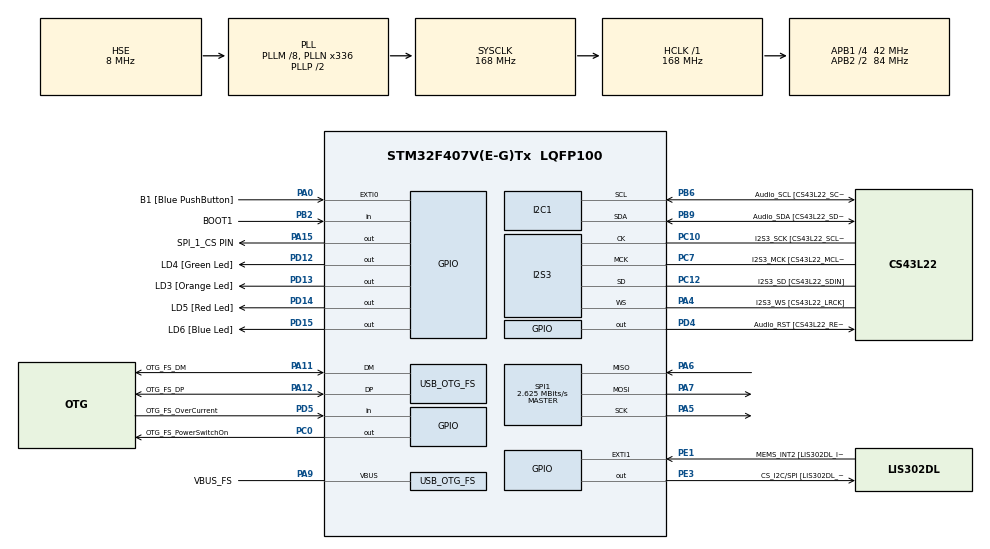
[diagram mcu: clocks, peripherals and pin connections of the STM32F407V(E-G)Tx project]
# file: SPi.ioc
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I2S3.AudioFreq-Half_Duplex_Master=I2S_AUDIOFREQ_96K
I2S3.ErrorAudioFreq=-2.34 %
I2S3.ErrorAudioFreq-Half_Duplex_Master=0.8 %
I2S3.FullDuplexMode=I2S_FULLDUPLEXMODE_DISABLE
I2S3.Instance=SPI$Index
I2S3.RealAudioFreq=93.75 KHz
I2S3.RealAudioFreq-Half_Duplex_Master=96.774 KHz
I2S3.VirtualMode=I2S_MODE_MASTER
Mcu.Family=STM32F4
Mcu.Name=STM32F407V(E-G)Tx
Mcu.Package=LQFP100
NVIC.OTG_FS_IRQn=true\:0\:0\:false\:false\:true\:true\:true\:true
NVIC.PriorityGroup=NVIC_PRIORITYGROUP_0
PA0-WKUP.GPIO_Label=B1 [Blue PushButton]
PA0-WKUP.GPIO_ModeDefaultEXTI=GPIO_MODE_EVT_RISING
PA0-WKUP.GPIO_PuPd=GPIO_NOPULL
PA0-WKUP.Signal=GPXTI0
PA10.GPIO_Label=OTG_FS_ID
PA10.GPIO_Mode=GPIO_MODE_AF_PP
PA10.GPIO_PuPd=GPIO_NOPULL
PA10.GPIO_Speed=GPIO_SPEED_FREQ_LOW
PA10.Signal=USB_OTG_FS_ID
PA11.GPIO_Label=OTG_FS_DM
PA11.GPIO_Mode=GPIO_MODE_AF_PP
PA11.GPIO_PuPd=GPIO_NOPULL
PA11.GPIO_Speed=GPIO_SPEED_FREQ_LOW
PA11.Mode=Host_Only
PA11.Signal=USB_OTG_FS_DM
PA12.GPIO_Label=OTG_FS_DP
PA12.GPIO_Mode=GPIO_MODE_AF_PP
PA12.GPIO_PuPd=GPIO_NOPULL
PA12.GPIO_Speed=GPIO_SPEED_FREQ_LOW
PA12.Mode=Host_Only
PA12.Signal=USB_OTG_FS_DP
PA13.GPIO_Label=SWDIO
PA13.Mode=Serial_Wire
PA13.Signal=SYS_JTMS-SWDIO
PA14.GPIO_Label=SWCLK
PA14.Mode=Serial_Wire
PA14.Signal=SYS_JTCK-SWCLK
PA15.GPIO_Label=SPI_1_CS PIN
PA15.GPIO_Speed=GPIO_SPEED_FREQ_HIGH
PA15.PinState=GPIO_PIN_RESET
PA15.Signal=GPIO_Output
PA4.GPIO_Label=I2S3_WS [CS43L22_LRCK]
PA4.GPIO_Mode=GPIO_MODE_AF_PP
PA4.GPIO_PuPd=GPIO_NOPULL
PA4.GPIO_Speed=GPIO_SPEED_FREQ_LOW
PA4.Mode=Half_Duplex_Master
PA4.Signal=I2S3_WS
PA5.GPIO_Mode=GPIO_MODE_AF_PP
PA5.GPIO_PuPd=GPIO_NOPULL
PA5.GPIO_Speed=GPIO_SPEED_FREQ_HIGH
PA5.Mode=Full_Duplex_Master
PA5.Signal=SPI1_SCK
PA6.GPIO_Mode=GPIO_MODE_AF_PP
PA6.GPIO_PuPd=GPIO_NOPULL
PA6.GPIO_Speed=GPIO_SPEED_FREQ_HIGH
PA6.Mode=Full_Duplex_Master
PA6.Signal=SPI1_MISO
PA7.GPIO_Mode=GPIO_MODE_AF_PP
PA7.GPIO_PuPd=GPIO_NOPULL
PA7.GPIO_Speed=GPIO_SPEED_FREQ_HIGH
PA7.Mode=Full_Duplex_Master
PA7.Signal=SPI1_MOSI
PA9.GPIO_Label=VBUS_FS
PA9.GPIO_Mode=GPIO_MODE_INPUT
PA9.GPIO_PuPd=GPIO_NOPULL
PA9.Mode=Activate_VBUS
PA9.Signal=USB_OTG_FS_VBUS
PB10.GPIO_Label=CLK_IN [MP45DT02_CLK]
PB10.GPIO_Mode=GPIO_MODE_AF_PP
PB10.GPIO_PuPd=GPIO_NOPULL
PB10.GPIO_Speed=GPIO_SPEED_FREQ_LOW
PB10.Signal=I2S2_CK
PB2.GPIO_Label=BOOT1
PB2.GPIO_Mode=GPIO_MODE_INPUT
PB2.GPIO_PuPd=GPIO_NOPULL
PB2.Signal=GPIO_Input
PB3.GPIO_Label=SWO
PB3.Signal=SYS_JTDO-SWO
PB6.GPIO_Label=Audio_SCL [CS43L22_SCL]
PB6.GPIO_Mode=GPIO_MODE_AF_OD
PB6.GPIO_Pu=GPIO_PULLUP
PB6.GPIO_PuPd=GPIO_NOPULL
PB6.GPIO_Speed=GPIO_SPEED_FREQ_LOW
PB6.Mode=I2C
PB6.Signal=I2C1_SCL
PB9.GPIO_Label=Audio_SDA [CS43L22_SDA]
PB9.GPIO_Mode=GPIO_MODE_AF_OD
PB9.GPIO_Pu=GPIO_PULLUP
PB9.GPIO_PuPd=GPIO_NOPULL
PB9.GPIO_Speed=GPIO_SPEED_FREQ_LOW
PB9.Mode=I2C
PB9.Signal=I2C1_SDA
PC0.GPIO_Label=OTG_FS_PowerSwitchOn
PC0.GPIO_PuPd=GPIO_NOPULL
PC0.GPIO_Speed=GPIO_SPEED_FREQ_LOW
PC0.PinState=GPIO_PIN_SET
PC0.Signal=GPIO_Output
PC10.GPIO_Label=I2S3_SCK [CS43L22_SCLK]
PC10.GPIO_Mode=GPIO_MODE_AF_PP
PC10.GPIO_PuPd=GPIO_NOPULL
PC10.GPIO_Speed=GPIO_SPEED_FREQ_LOW
PC10.Mode=Half_Duplex_Master
PC10.Signal=I2S3_CK
PC12.GPIO_Label=I2S3_SD [CS43L22_SDIN]
PC12.GPIO_Mode=GPIO_MODE_AF_PP
PC12.GPIO_PuPd=GPIO_NOPULL
PC12.GPIO_Speed=GPIO_SPEED_FREQ_LOW
PC12.Mode=Half_Duplex_Master
PC12.Signal=I2S3_SD
PC14-OSC32_IN.GPIO_Label=PC14-OSC32_IN
PC14-OSC32_IN.Mode=LSE-External-Oscillator
PC14-OSC32_IN.Signal=RCC_OSC32_IN
PC15-OSC32_OUT.GPIO_Label=PC15-OSC32_OUT
PC15-OSC32_OUT.Mode=LSE-External-Oscillator
PC15-OSC32_OUT.Signal=RCC_OSC32_OUT
PC3.GPIO_Label=PDM_OUT [MP45DT02_DOUT]
PC3.GPIO_Mode=GPIO_MODE_AF_PP
PC3.GPIO_PuPd=GPIO_NOPULL
PC3.GPIO_Speed=GPIO_SPEED_FREQ_LOW
PC3.Signal=I2S2_SD
PC7.GPIO_Label=I2S3_MCK [CS43L22_MCLK]
PC7.GPIO_Mode=GPIO_MODE_AF_PP
PC7.GPIO_PuPd=GPIO_NOPULL
PC7.GPIO_Speed=GPIO_SPEED_FREQ_LOW
PC7.Mode=Master_Clock_Activated
PC7.Signal=I2S3_MCK
PD12.GPIO_Label=LD4 [Green Led]
PD12.GPIO_PuPd=GPIO_NOPULL
PD12.GPIO_Speed=GPIO_SPEED_FREQ_LOW
PD12.Signal=GPIO_Output
PD13.GPIO_Label=LD3 [Orange Led]
PD13.GPIO_PuPd=GPIO_NOPULL
PD13.GPIO_Speed=GPIO_SPEED_FREQ_LOW
PD13.Signal=GPIO_Output
PD14.GPIO_Label=LD5 [Red Led]
PD14.GPIO_PuPd=GPIO_NOPULL
PD14.GPIO_Speed=GPIO_SPEED_FREQ_LOW
PD14.Signal=GPIO_Output
PD15.GPIO_Label=LD6 [Blue Led]
PD15.GPIO_PuPd=GPIO_NOPULL
PD15.GPIO_Speed=GPIO_SPEED_FREQ_LOW
PD15.Signal=GPIO_Output
PD4.GPIO_Label=Audio_RST [CS43L22_RESET]
PD4.GPIO_PuPd=GPIO_NOPULL
PD4.GPIO_Speed=GPIO_SPEED_FREQ_LOW
PD4.Signal=GPIO_Output
PD5.GPIO_Label=OTG_FS_OverCurrent
PD5.GPIO_Mode=GPIO_MODE_INPUT
PD5.GPIO_PuPd=GPIO_NOPULL
PD5.Signal=GPIO_Input
PE1.GPIO_Label=MEMS_INT2 [LIS302DL_INT2]
PE1.GPIO_ModeDefaultEXTI=GPIO_MODE_EVT_RISING
PE1.GPIO_PuPd=GPIO_NOPULL
PE1.Signal=GPXTI1
PE3.GPIO_Label=CS_I2C/SPI [LIS302DL_CS_I2C/SPI]
PE3.GPIO_PuPd=GPIO_NOPULL
PE3.GPIO_Speed=GPIO_SPEED_FREQ_LOW
PE3.Signal=GPIO_Output
PH0-OSC_IN.GPIO_Label=PH0-OSC_IN
PH0-OSC_IN.Mode=HSE-External-Oscillator
PH0-OSC_IN.Signal=RCC_OSC_IN
PH1-OSC_OUT.GPIO_Label=PH1-OSC_OUT
PH1-OSC_OUT.Mode=HSE-External-Oscillator
PH1-OSC_OUT.Signal=RCC_OSC_OUT
ProjectManager.HeapSize=0x200
ProjectManager.StackSize=0x400
ProjectManager.TargetToolchain=STM32CubeIDE
RCC.48MHZClocksFreq_Value=48000000
RCC.AHBFreq_Value=168000000
RCC.APB1CLKDivider=RCC_HCLK_DIV4
RCC.APB1Freq_Value=42000000
RCC.APB1TimFreq_Value=84000000
RCC.APB2CLKDivider=RCC_HCLK_DIV2
RCC.APB2Freq_Value=84000000
RCC.APB2TimFreq_Value=168000000
RCC.CortexFreq_Value=168000000
RCC.HCLKFreq_Value=168000000
RCC.HSE_VALUE=8000000
RCC.HSI_VALUE=16000000
RCC.PLLM=8
RCC.PLLN=336
RCC.PLLQ=7
RCC.SYSCLKFreq_VALUE=168000000
RCC.SYSCLKSource=RCC_SYSCLKSOURCE_PLLCLK
RCC.VCOOutputFreq_Value=336000000
SPI1.BaudRatePrescaler=SPI_BAUDRATEPRESCALER_32
SPI1.CLKPhase=SPI_PHASE_2EDGE
SPI1.CLKPolarity=SPI_POLARITY_HIGH
SPI1.CalculateBaudRate=2.625 MBits/s
SPI1.DataSize=SPI_DATASIZE_8BIT
SPI1.Direction=SPI_DIRECTION_2LINES
SPI1.Mode=SPI_MODE_MASTER
SPI1.VirtualType=VM_MASTER
USB_HOST.BSP.number=1
USB_HOST.USBH_HandleTypeDef-CDC_FS=hUsbHostFS
USB_HOST.VirtualModeFS=Cdc
USB_HOST0.BSP.STBoard=false
USB_HOST0.BSP.api=Unknown
USB_HOST0.BSP.instance=PC0
USB_HOST0.BSP.ip=GPIO
USB_HOST0.BSP.mode=Output
USB_HOST0.BSP.name=Drive_VBUS_FS
USB_HOST0.BSP.solution=PC0
USB_OTG_FS.VirtualMode=Host_Only
USB_OTG_FS.phy_itface=HCD_PHY_EMBEDDED
VP_USB_HOST_VS_USB_HOST_CDC_FS.Mode=CDC_FS
board=STM32F407G-DISC1

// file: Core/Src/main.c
/* USER CODE BEGIN Header */
/**
  ******************************************************************************
  * @file           : main.c
  * @brief          : Main program body
  ******************************************************************************
  * @attention
  *
  * Copyright (c) 2025 STMicroelectronics.
  * All rights reserved.
  *
  * This software is licensed under terms that can be found in the LICENSE file
  * in the root directory of this software component.
  * If no LICENSE file comes with this software, it is provided AS-IS.
  *
  ******************************************************************************
  */
/* USER CODE END Header */
#include "main.h"
#include "usb_host.h"

/* USER CODE BEGIN Includes */
#include <stdio.h>
#include <math.h>

/* USER CODE END Includes */

/* USER CODE BEGIN PD */
#define HAL_DELAY      	 													(10)
#define MAX_UINT16 															 (32768.0)
#define PTD_Ref 																	 (4300.0)
#define RTD_A 																		 (3.9083e-3)
#define RTD_B  																		 (-5.775e-7)
#define RTDnominal     													   	(1000.0)
#define MAX31865_FAULT_HIGHTHRESH 				(0x80)
#define MAX31865_FAULT_LOWTHRESH 					(0x40)
#define MAX31865_FAULT_REFINLOW       				(0x20)
#define MAX31865_FAULT_REFINHIGH						 (0x10)
#define MAX31865_FAULT_RTDINLOW						 (0x08)
#define MAX31865_FAULT_OVUV									 (0x04)

/* USER CODE END PD */

I2C_HandleTypeDef hi2c1;

I2S_HandleTypeDef hi2s3;

SPI_HandleTypeDef hspi1;

void SystemClock_Config(void);
static void MX_GPIO_Init(void);
static void MX_I2C1_Init(void);
static void MX_I2S3_Init(void);
static void MX_SPI1_Init(void);
void MX_USB_HOST_Process(void);

/* USER CODE BEGIN 0 */

uint8_t rxData[2] = {0x00,0x00};
uint8_t rfcData[2] = {0x00,0x00};
uint8_t rhfData[2] = {0x00,0x00};
uint8_t rlfData[2] = {0x00,0x00};
uint8_t wrtBuffer[2] = {0x00,0x00};
HAL_StatusTypeDef  err;
uint8_t  T_out = 100;
uint16_t adc_Ratio = 0;
float  rtd_Value,Z1,Z2,Z3,Z4,temp = 0.0;

/* USER CODE END 0 */

int main(void)
{

  /* MCU Configuration--------------------------------------------------------*/

  /* Reset of all peripherals, Initializes the Flash interface and the Systick. */
  HAL_Init();

  /* Configure the system clock */
  SystemClock_Config();

  /* Initialize all configured peripherals */
  MX_GPIO_Init();
  MX_I2C1_Init();
  MX_I2S3_Init();
  MX_SPI1_Init();
  MX_USB_HOST_Init();
  /* USER CODE BEGIN 2 */
  // ----------------PULL CS PIN LOW --------- GPIOA PIN 15 ------------
  HAL_GPIO_WritePin(GPIOA, GPIO_PIN_15, GPIO_PIN_SET);

  HAL_Delay( HAL_DELAY);
  //----------------------- READ CONFIG BACK  01h----------------
    wrtBuffer[0] = 0x01;
    HAL_GPIO_WritePin(GPIOA, GPIO_PIN_15, GPIO_PIN_RESET);
    if (! (HAL_GPIO_ReadPin(GPIOA,GPIO_PIN_15)))
    {
  	  err = HAL_SPI_Transmit(&hspi1, wrtBuffer, 1, T_out);
  	  err = HAL_SPI_Receive(&hspi1, &rxData[0], 1, T_out);
  	  if (!err)
  	  {
  		  printf("01h [0]  ---- 0x%02x\n", rxData[0]);
  	  }
    }
    HAL_GPIO_WritePin(GPIOA, GPIO_PIN_15, GPIO_PIN_SET);

      //----------------------- READ CONFIG BACK  02h----------------
      wrtBuffer[0] = 0x02;
      HAL_GPIO_WritePin(GPIOA, GPIO_PIN_15, GPIO_PIN_RESET);
      if (! (HAL_GPIO_ReadPin(GPIOA,GPIO_PIN_15)))
      {
    	  err = HAL_SPI_Transmit(&hspi1, wrtBuffer, 1, T_out);
    	  err = HAL_SPI_Receive(&hspi1, &rxData[1], 1, T_out);
    	  if (!err)
    	  {
    		  printf("02h [1]  ---- 0x%02x\n", rxData[1]);
    	  }
      }
      HAL_GPIO_WritePin(GPIOA, GPIO_PIN_15, GPIO_PIN_SET);
      //--------------------------WRITE CONFIG 80h---------------------------
	  // with buffer[0]as address
	  wrtBuffer[0] =  0x80;
	  //with buffer[1] as data
	  wrtBuffer[1] =  0xD2;
	  HAL_GPIO_WritePin(GPIOA, GPIO_PIN_15, GPIO_PIN_RESET);
	  if (! (HAL_GPIO_ReadPin(GPIOA,GPIO_PIN_15)))  // to check if the CS pin is low or not
	  {
		  err = HAL_SPI_Transmit(&hspi1, wrtBuffer, 2, T_out);
		  if (!err)
		  {
			  printf("Write 80h [0] -  0x%02x\n",wrtBuffer[0] );
			  printf("Write 80h [0] -  0x%02x\n",wrtBuffer[1] );
		  }
	  }
	  HAL_GPIO_WritePin(GPIOA, GPIO_PIN_15, GPIO_PIN_SET);
	  HAL_Delay(HAL_DELAY);

	//--------------------------WRITE CONFIG 83h---------------------------
	// with buffer[0]as address
    wrtBuffer[0] =  0x83;
    //with buffer[1] as data
    wrtBuffer[1] =  0xCC;
    HAL_GPIO_WritePin(GPIOA, GPIO_PIN_15, GPIO_PIN_RESET);
    if (! (HAL_GPIO_ReadPin(GPIOA,GPIO_PIN_15)))  // to check if the CS pin is low or not
    {
  	  err = HAL_SPI_Transmit(&hspi1, wrtBuffer, 2, T_out);
  	  if (!err)
  	  {
  		  printf("Write 83h [0] -  0x%02x\n",wrtBuffer[0] );
  		  printf("Write 83h [0] -  0x%02x\n",wrtBuffer[1] );
  	  }
    }
    HAL_GPIO_WritePin(GPIOA, GPIO_PIN_15, GPIO_PIN_SET);
    HAL_Delay(HAL_DELAY);

    //--------------------------WRITE CONFIG 84h---------------------------
	wrtBuffer[0] =  0x84;
	wrtBuffer[1] =  0xCC;
	HAL_GPIO_WritePin(GPIOA, GPIO_PIN_15, GPIO_PIN_RESET);
	if (! (HAL_GPIO_ReadPin(GPIOA,GPIO_PIN_15)))  // to check if the CS pin is low or not
	{
	err = HAL_SPI_Transmit(&hspi1, wrtBuffer, 2, T_out);
	if (!err)
	{
	printf("Write 84h [0] -  0x%02x\n",wrtBuffer[0] );
	printf("Write 84h [0] -  0x%02x\n",wrtBuffer[1] );
	}
	}
	HAL_GPIO_WritePin(GPIOA, GPIO_PIN_15, GPIO_PIN_SET);
	HAL_Delay(HAL_DELAY);

	//--------------------------WRITE CONFIG 85h---------------------------

	wrtBuffer[0] =  0x85;
	wrtBuffer[1] =  0x01;
	HAL_GPIO_WritePin(GPIOA, GPIO_PIN_15, GPIO_PIN_RESET);
	if (! (HAL_GPIO_ReadPin(GPIOA,GPIO_PIN_15)))  // to check if the CS pin is low or not
	{
	err = HAL_SPI_Transmit(&hspi1, wrtBuffer, 2, T_out);
		if (!err)
		{
			printf("Write 85h [0] -  0x%02x\n",wrtBuffer[0] );
			printf("Write 85h [0] -  0x%02x\n",wrtBuffer[1] );
		}
	}
	HAL_GPIO_WritePin(GPIOA, GPIO_PIN_15, GPIO_PIN_SET);
	HAL_Delay(HAL_DELAY);

	//--------------------------WRITE CONFIG 86h---------------------------
	wrtBuffer[0] =  0x86;
	wrtBuffer[1] =  0x01;
	HAL_GPIO_WritePin(GPIOA, GPIO_PIN_15, GPIO_PIN_RESET);
	if (! (HAL_GPIO_ReadPin(GPIOA,GPIO_PIN_15)))  // to check if the CS pin is low or not
	{
	err = HAL_SPI_Transmit(&hspi1, wrtBuffer, 2, T_out);
		if (!err)
		{
			printf("Write 86h [0] -  0x%02x\n",wrtBuffer[0] );
			printf("Write 86h [0] -  0x%02x\n",wrtBuffer[1] );
		}
	}
	HAL_GPIO_WritePin(GPIOA, GPIO_PIN_15, GPIO_PIN_SET);
	HAL_Delay(HAL_DELAY);
	//----------------------- READ CONFIG BACK  03h----------------
	wrtBuffer[0] = 0x03;
	HAL_GPIO_WritePin(GPIOA, GPIO_PIN_15, GPIO_PIN_RESET);
	if (! (HAL_GPIO_ReadPin(GPIOA,GPIO_PIN_15)))
	{
	err = HAL_SPI_Transmit(&hspi1, wrtBuffer, 1, T_out);
	err = HAL_SPI_Receive(&hspi1, &rhfData[0], 1, T_out);
		if (!err)
		{
		  printf("03h [0]  ---- 0x%02x\n", rhfData[0]);
		}
	}
	HAL_GPIO_WritePin(GPIOA, GPIO_PIN_15, GPIO_PIN_SET);
	//----------------------- READ CONFIG BACK  04h----------------
	wrtBuffer[0] = 0x04;
	HAL_GPIO_WritePin(GPIOA, GPIO_PIN_15, GPIO_PIN_RESET);
	if (! (HAL_GPIO_ReadPin(GPIOA,GPIO_PIN_15)))
	{
	err = HAL_SPI_Transmit(&hspi1, wrtBuffer, 1, T_out);
	err = HAL_SPI_Receive(&hspi1, &rhfData[1], 1, T_out);
		if (!err)
		{
		  printf("04h [1]  ---- 0x%02x\n", rhfData[1]);
		}
	}
	HAL_GPIO_WritePin(GPIOA, GPIO_PIN_15, GPIO_PIN_SET);
	//----------------------- READ CONFIG BACK  05h----------------
	wrtBuffer[0] = 0x05;
	HAL_GPIO_WritePin(GPIOA, GPIO_PIN_15, GPIO_PIN_RESET);
	if (! (HAL_GPIO_ReadPin(GPIOA,GPIO_PIN_15)))
	{
	err = HAL_SPI_Transmit(&hspi1, wrtBuffer, 1, T_out);
	err = HAL_SPI_Receive(&hspi1, &rlfData[0], 1, T_out);
		if (!err)
		{
		  printf("05h [0]  ---- 0x%02x\n", rlfData[0]);
		}
	}
	HAL_GPIO_WritePin(GPIOA, GPIO_PIN_15, GPIO_PIN_SET);
	//----------------------- READ CONFIG BACK  06h----------------
	wrtBuffer[0] = 0x06;
	HAL_GPIO_WritePin(GPIOA, GPIO_PIN_15, GPIO_PIN_RESET);
	if (! (HAL_GPIO_ReadPin(GPIOA,GPIO_PIN_15)))
	{
	  err = HAL_SPI_Transmit(&hspi1, wrtBuffer, 1, T_out);
	  err = HAL_SPI_Receive(&hspi1, &rlfData[1], 1, T_out);
	  if (!err)
	  {
		  printf("06h [1]  ---- 0x%02x\n", rlfData[1]);
	  }
	}
	HAL_GPIO_WritePin(GPIOA, GPIO_PIN_15, GPIO_PIN_SET);

	//----------------------- READ CONFIG BACK  00h----------------
	wrtBuffer[0] = 0x00;
	HAL_GPIO_WritePin(GPIOA, GPIO_PIN_15, GPIO_PIN_RESET);
	if (! (HAL_GPIO_ReadPin(GPIOA,GPIO_PIN_15)))
	{
	  err = HAL_SPI_Transmit(&hspi1, wrtBuffer, 1, T_out);
	  err = HAL_SPI_Receive(&hspi1, &rfcData[0], 1, T_out);
	  if (!err)
	  {
		  printf("00h rfcData[0]  ---- 0x%02x\n", rfcData[0]);
	  }
	}
	HAL_GPIO_WritePin(GPIOA, GPIO_PIN_15, GPIO_PIN_SET);
	HAL_Delay(HAL_DELAY);
	printf("=============\n");

  while(!(rfcData[1]))
  {
	temp = 0.0;
	adc_Ratio = 0;
	 //----------------------- READ CONFIG BACK  07h----------------
	wrtBuffer[0] = 0x07;
	HAL_GPIO_WritePin(GPIOA, GPIO_PIN_15, GPIO_PIN_RESET);
	if (! (HAL_GPIO_ReadPin(GPIOA,GPIO_PIN_15)))
	{
	err = HAL_SPI_Transmit(&hspi1, wrtBuffer, 1, T_out);
	err = HAL_SPI_Receive(&hspi1, &rfcData[1], 1, T_out);
	if (!err)
	  {
		  printf("07h rfcData[1]  ---- 0x%02x\n", rfcData[1]);
	  }
	}
	HAL_GPIO_WritePin(GPIOA, GPIO_PIN_15, GPIO_PIN_SET);
	//----------------------- READ CONFIG BACK  01h----------------
	wrtBuffer[0] = 0x01;
	HAL_GPIO_WritePin(GPIOA, GPIO_PIN_15, GPIO_PIN_RESET);
	if (! (HAL_GPIO_ReadPin(GPIOA,GPIO_PIN_15)))
	{
		err = HAL_SPI_Transmit(&hspi1, wrtBuffer, 1, T_out);
		err = HAL_SPI_Receive(&hspi1, &rxData[0], 1, T_out);
	}
	HAL_GPIO_WritePin(GPIOA, GPIO_PIN_15, GPIO_PIN_SET);
	//----------------------- READ CONFIG BACK  02h----------------
	wrtBuffer[0] = 0x02;
	HAL_GPIO_WritePin(GPIOA, GPIO_PIN_15, GPIO_PIN_RESET);
	if (! (HAL_GPIO_ReadPin(GPIOA,GPIO_PIN_15)))
	{
		err = HAL_SPI_Transmit(&hspi1, wrtBuffer, 1, T_out);
		err = HAL_SPI_Receive(&hspi1, &rxData[1], 1, T_out);
	}
	HAL_GPIO_WritePin(GPIOA, GPIO_PIN_15, GPIO_PIN_SET);

	printf("MSB rxData  ---- 0x%02x\n", rxData[0]);
	printf("LSB  rxData  ---- 0x%02x\n", rxData[1]);
	adc_Ratio |= ((uint16_t)rxData[0]  << 8) ;
	adc_Ratio |= rxData[1];
	adc_Ratio >>= 1; // (remove the LSB Fault bias bit)
	printf("ADC_Data  ---- 0x%04x\n", adc_Ratio);
	rtd_Value =  (float)((adc_Ratio)* (PTD_Ref) / ( MAX_UINT16));
	printf("RTD Value  ---- %0.2f\n", rtd_Value);
	// conversion into temperature
	Z1 = -RTD_A;
	Z2 = RTD_A * RTD_A - (4 * RTD_B);
	Z3 = (4 * RTD_B) / RTDnominal;
	Z4 = 2 * RTD_B;

	temp = Z2 + (Z3 * rtd_Value);
	temp = (sqrt(temp) + Z1) / Z4;

	if (temp >= 0.0) printf("Temperature is %0.2f degC\n",temp);
	printf("~~~~~~~~\n");
	HAL_Delay(2000);
  }

  printf("~~~~STOP~~~~\n");
  if ((rfcData[1])  & MAX31865_FAULT_HIGHTHRESH) printf ("RTD High Threshold\r\n");
  if ((rfcData[1])  & MAX31865_FAULT_LOWTHRESH) printf ("RTD Low Threshold\r\n");
  if ((rfcData[1])  & MAX31865_FAULT_REFINLOW) printf ("REFIN- < 0.85 x Bias\r\n");
  if ((rfcData[1])  & MAX31865_FAULT_REFINHIGH) printf ("REFIN+ > 0.85 x Bias - FORCE+ open\r\n");
  if ((rfcData[1])  & MAX31865_FAULT_RTDINLOW) printf ("RTDIN- < 0.85 x Bias - FORCE- open\r\n");
  if ((rfcData[1])  & MAX31865_FAULT_OVUV) printf ("Under/Over voltage\r\n");

  /* USER CODE END 2 */

  /* Infinite loop */
  while (1)
  {
    MX_USB_HOST_Process();

  }
}

void SystemClock_Config(void)
{
  RCC_OscInitTypeDef RCC_OscInitStruct = {0};
  RCC_ClkInitTypeDef RCC_ClkInitStruct = {0};

  /** Configure the main internal regulator output voltage
  */
  __HAL_RCC_PWR_CLK_ENABLE();
  __HAL_PWR_VOLTAGESCALING_CONFIG(PWR_REGULATOR_VOLTAGE_SCALE1);

  /** Initializes the RCC Oscillators according to the specified parameters
  * in the RCC_OscInitTypeDef structure.
  */
  RCC_OscInitStruct.OscillatorType = RCC_OSCILLATORTYPE_HSE;
  RCC_OscInitStruct.HSEState = RCC_HSE_ON;
  RCC_OscInitStruct.PLL.PLLState = RCC_PLL_ON;
  RCC_OscInitStruct.PLL.PLLSource = RCC_PLLSOURCE_HSE;
  RCC_OscInitStruct.PLL.PLLM = 8;
  RCC_OscInitStruct.PLL.PLLN = 336;
  RCC_OscInitStruct.PLL.PLLP = RCC_PLLP_DIV2;
  RCC_OscInitStruct.PLL.PLLQ = 7;
  if (HAL_RCC_OscConfig(&RCC_OscInitStruct) != HAL_OK)
  {
    Error_Handler();
  }

  /** Initializes the CPU, AHB and APB buses clocks
  */
  RCC_ClkInitStruct.ClockType = RCC_CLOCKTYPE_HCLK|RCC_CLOCKTYPE_SYSCLK
                              |RCC_CLOCKTYPE_PCLK1|RCC_CLOCKTYPE_PCLK2;
  RCC_ClkInitStruct.SYSCLKSource = RCC_SYSCLKSOURCE_PLLCLK;
  RCC_ClkInitStruct.AHBCLKDivider = RCC_SYSCLK_DIV1;
  RCC_ClkInitStruct.APB1CLKDivider = RCC_HCLK_DIV4;
  RCC_ClkInitStruct.APB2CLKDivider = RCC_HCLK_DIV2;

  if (HAL_RCC_ClockConfig(&RCC_ClkInitStruct, FLASH_LATENCY_5) != HAL_OK)
  {
    Error_Handler();
  }
}

static void MX_I2C1_Init(void)
{

  hi2c1.Instance = I2C1;
  hi2c1.Init.ClockSpeed = 100000;
  hi2c1.Init.DutyCycle = I2C_DUTYCYCLE_2;
  hi2c1.Init.OwnAddress1 = 0;
  hi2c1.Init.AddressingMode = I2C_ADDRESSINGMODE_7BIT;
  hi2c1.Init.DualAddressMode = I2C_DUALADDRESS_DISABLE;
  hi2c1.Init.OwnAddress2 = 0;
  hi2c1.Init.GeneralCallMode = I2C_GENERALCALL_DISABLE;
  hi2c1.Init.NoStretchMode = I2C_NOSTRETCH_DISABLE;
  if (HAL_I2C_Init(&hi2c1) != HAL_OK)
  {
    Error_Handler();
  }

}

static void MX_I2S3_Init(void)
{

  hi2s3.Instance = SPI3;
  hi2s3.Init.Mode = I2S_MODE_MASTER_TX;
  hi2s3.Init.Standard = I2S_STANDARD_PHILIPS;
  hi2s3.Init.DataFormat = I2S_DATAFORMAT_16B;
  hi2s3.Init.MCLKOutput = I2S_MCLKOUTPUT_ENABLE;
  hi2s3.Init.AudioFreq = I2S_AUDIOFREQ_96K;
  hi2s3.Init.CPOL = I2S_CPOL_LOW;
  hi2s3.Init.ClockSource = I2S_CLOCK_PLL;
  hi2s3.Init.FullDuplexMode = I2S_FULLDUPLEXMODE_DISABLE;
  if (HAL_I2S_Init(&hi2s3) != HAL_OK)
  {
    Error_Handler();
  }

}

static void MX_SPI1_Init(void)
{

  /* SPI1 parameter configuration*/
  hspi1.Instance = SPI1;
  hspi1.Init.Mode = SPI_MODE_MASTER;
  hspi1.Init.Direction = SPI_DIRECTION_2LINES;
  hspi1.Init.DataSize = SPI_DATASIZE_8BIT;
  hspi1.Init.CLKPolarity = SPI_POLARITY_HIGH;
  hspi1.Init.CLKPhase = SPI_PHASE_2EDGE;
  hspi1.Init.NSS = SPI_NSS_SOFT;
  hspi1.Init.BaudRatePrescaler = SPI_BAUDRATEPRESCALER_32;
  hspi1.Init.FirstBit = SPI_FIRSTBIT_MSB;
  hspi1.Init.TIMode = SPI_TIMODE_DISABLE;
  hspi1.Init.CRCCalculation = SPI_CRCCALCULATION_DISABLE;
  hspi1.Init.CRCPolynomial = 10;
  if (HAL_SPI_Init(&hspi1) != HAL_OK)
  {
    Error_Handler();
  }

}

static void MX_GPIO_Init(void)
{
  GPIO_InitTypeDef GPIO_InitStruct = {0};

  /* GPIO Ports Clock Enable */
  __HAL_RCC_GPIOE_CLK_ENABLE();
  __HAL_RCC_GPIOC_CLK_ENABLE();
  __HAL_RCC_GPIOH_CLK_ENABLE();
  __HAL_RCC_GPIOA_CLK_ENABLE();
  __HAL_RCC_GPIOB_CLK_ENABLE();
  __HAL_RCC_GPIOD_CLK_ENABLE();

  /*Configure GPIO pin Output Level */
  HAL_GPIO_WritePin(CS_I2C_SPI_GPIO_Port, CS_I2C_SPI_Pin, GPIO_PIN_RESET);

  /*Configure GPIO pin Output Level */
  HAL_GPIO_WritePin(OTG_FS_PowerSwitchOn_GPIO_Port, OTG_FS_PowerSwitchOn_Pin, GPIO_PIN_SET);

  /*Configure GPIO pin Output Level */
  HAL_GPIO_WritePin(GPIOD, LD4_Pin|LD3_Pin|LD5_Pin|LD6_Pin
                          |Audio_RST_Pin, GPIO_PIN_RESET);

  /*Configure GPIO pin Output Level */
  HAL_GPIO_WritePin(SPI_1_CS_PIN_GPIO_Port, SPI_1_CS_PIN_Pin, GPIO_PIN_RESET);

  /*Configure GPIO pin : CS_I2C_SPI_Pin */
  GPIO_InitStruct.Pin = CS_I2C_SPI_Pin;
  GPIO_InitStruct.Mode = GPIO_MODE_OUTPUT_PP;
  GPIO_InitStruct.Pull = GPIO_NOPULL;
  GPIO_InitStruct.Speed = GPIO_SPEED_FREQ_LOW;
  HAL_GPIO_Init(CS_I2C_SPI_GPIO_Port, &GPIO_InitStruct);

  /*Configure GPIO pin : OTG_FS_PowerSwitchOn_Pin */
  GPIO_InitStruct.Pin = OTG_FS_PowerSwitchOn_Pin;
  GPIO_InitStruct.Mode = GPIO_MODE_OUTPUT_PP;
  GPIO_InitStruct.Pull = GPIO_NOPULL;
  GPIO_InitStruct.Speed = GPIO_SPEED_FREQ_LOW;
  HAL_GPIO_Init(OTG_FS_PowerSwitchOn_GPIO_Port, &GPIO_InitStruct);

  /*Configure GPIO pin : PDM_OUT_Pin */
  GPIO_InitStruct.Pin = PDM_OUT_Pin;
  GPIO_InitStruct.Mode = GPIO_MODE_AF_PP;
  GPIO_InitStruct.Pull = GPIO_NOPULL;
  GPIO_InitStruct.Speed = GPIO_SPEED_FREQ_LOW;
  GPIO_InitStruct.Alternate = GPIO_AF5_SPI2;
  HAL_GPIO_Init(PDM_OUT_GPIO_Port, &GPIO_InitStruct);

  /*Configure GPIO pin : B1_Pin */
  GPIO_InitStruct.Pin = B1_Pin;
  GPIO_InitStruct.Mode = GPIO_MODE_EVT_RISING;
  GPIO_InitStruct.Pull = GPIO_NOPULL;
  HAL_GPIO_Init(B1_GPIO_Port, &GPIO_InitStruct);

  /*Configure GPIO pin : BOOT1_Pin */
  GPIO_InitStruct.Pin = BOOT1_Pin;
  GPIO_InitStruct.Mode = GPIO_MODE_INPUT;
  GPIO_InitStruct.Pull = GPIO_NOPULL;
  HAL_GPIO_Init(BOOT1_GPIO_Port, &GPIO_InitStruct);

  /*Configure GPIO pin : CLK_IN_Pin */
  GPIO_InitStruct.Pin = CLK_IN_Pin;
  GPIO_InitStruct.Mode = GPIO_MODE_AF_PP;
  GPIO_InitStruct.Pull = GPIO_NOPULL;
  GPIO_InitStruct.Speed = GPIO_SPEED_FREQ_LOW;
  GPIO_InitStruct.Alternate = GPIO_AF5_SPI2;
  HAL_GPIO_Init(CLK_IN_GPIO_Port, &GPIO_InitStruct);

  /*Configure GPIO pins : LD4_Pin LD3_Pin LD5_Pin LD6_Pin
                           Audio_RST_Pin */
  GPIO_InitStruct.Pin = LD4_Pin|LD3_Pin|LD5_Pin|LD6_Pin
                          |Audio_RST_Pin;
  GPIO_InitStruct.Mode = GPIO_MODE_OUTPUT_PP;
  GPIO_InitStruct.Pull = GPIO_NOPULL;
  GPIO_InitStruct.Speed = GPIO_SPEED_FREQ_LOW;
  HAL_GPIO_Init(GPIOD, &GPIO_InitStruct);

  /*Configure GPIO pin : SPI_1_CS_PIN_Pin */
  GPIO_InitStruct.Pin = SPI_1_CS_PIN_Pin;
  GPIO_InitStruct.Mode = GPIO_MODE_OUTPUT_PP;
  GPIO_InitStruct.Pull = GPIO_NOPULL;
  GPIO_InitStruct.Speed = GPIO_SPEED_FREQ_HIGH;
  HAL_GPIO_Init(SPI_1_CS_PIN_GPIO_Port, &GPIO_InitStruct);

  /*Configure GPIO pin : OTG_FS_OverCurrent_Pin */
  GPIO_InitStruct.Pin = OTG_FS_OverCurrent_Pin;
  GPIO_InitStruct.Mode = GPIO_MODE_INPUT;
  GPIO_InitStruct.Pull = GPIO_NOPULL;
  HAL_GPIO_Init(OTG_FS_OverCurrent_GPIO_Port, &GPIO_InitStruct);

  /*Configure GPIO pin : MEMS_INT2_Pin */
  GPIO_InitStruct.Pin = MEMS_INT2_Pin;
  GPIO_InitStruct.Mode = GPIO_MODE_EVT_RISING;
  GPIO_InitStruct.Pull = GPIO_NOPULL;
  HAL_GPIO_Init(MEMS_INT2_GPIO_Port, &GPIO_InitStruct);

}

void Error_Handler(void)
{
  __disable_irq();
  while (1)
  {
  }
}
